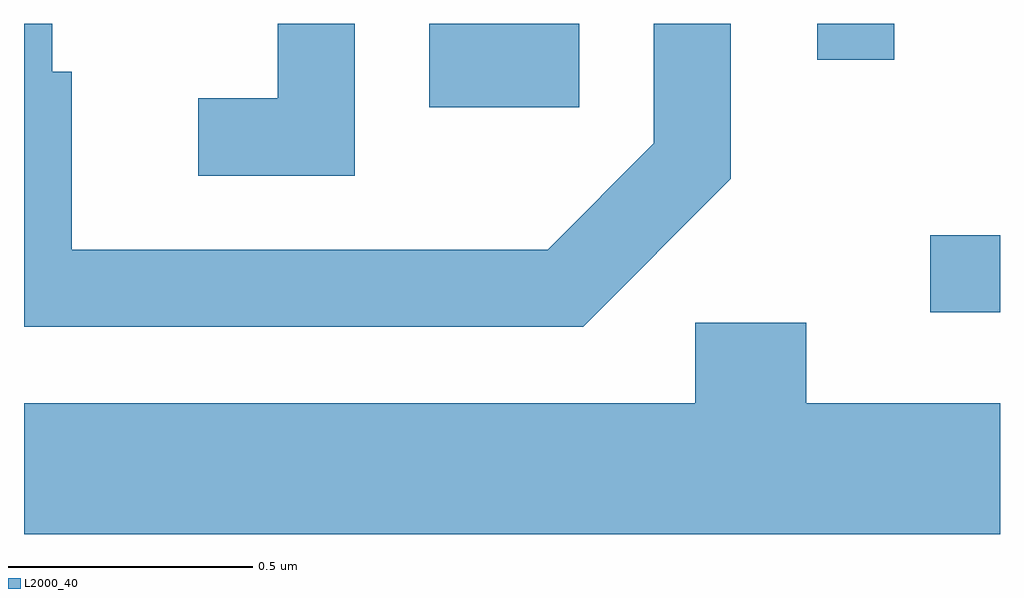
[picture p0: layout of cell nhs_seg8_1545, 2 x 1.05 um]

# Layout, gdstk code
import gdstk
lib = gdstk.Library(unit=1e-6, precision=1e-09)
def R(c, l, rs):  # rectangles x0, y0, x1, y1
    for r in rs: c.add(gdstk.rectangle(r[:2], r[2:], *l))
def P(c, l, *ps):  # polygons
    for p in ps: c.add(gdstk.Polygon(p, *l))
L2000_40 = (2000, 40)

nhs_seg8_1545 = lib.new_cell('nhs_seg8_1545')
R(nhs_seg8_1545, L2000_40, [(198.468,1845.751,198.611,1845.909), (197.441,1846.171,197.749,1846.342), (198.236,1846.268,198.394,1846.342)])
P(nhs_seg8_1545, L2000_40, [(197.289,1846.342),(197.131,1846.342),(197.131,1846.189),(196.968,1846.189),(196.968,1846.031),(197.289,1846.031)],
  [(198.059,1846.024),(198.059,1846.342),(197.901,1846.342),(197.901,1846.097),(197.684,1845.879),(196.709,1845.879),(196.709,1846.244),(196.669,1846.244),(196.669,1846.342),(196.611,1846.342),(196.611,1845.721),(197.757,1845.721)],
  [(198.611,1845.564),(198.214,1845.564),(198.214,1845.729),(197.986,1845.729),(197.986,1845.564),(196.611,1845.564),(196.611,1845.296),(198.611,1845.296)])

lib.write_gds('nhs_seg8_1545.gds')
